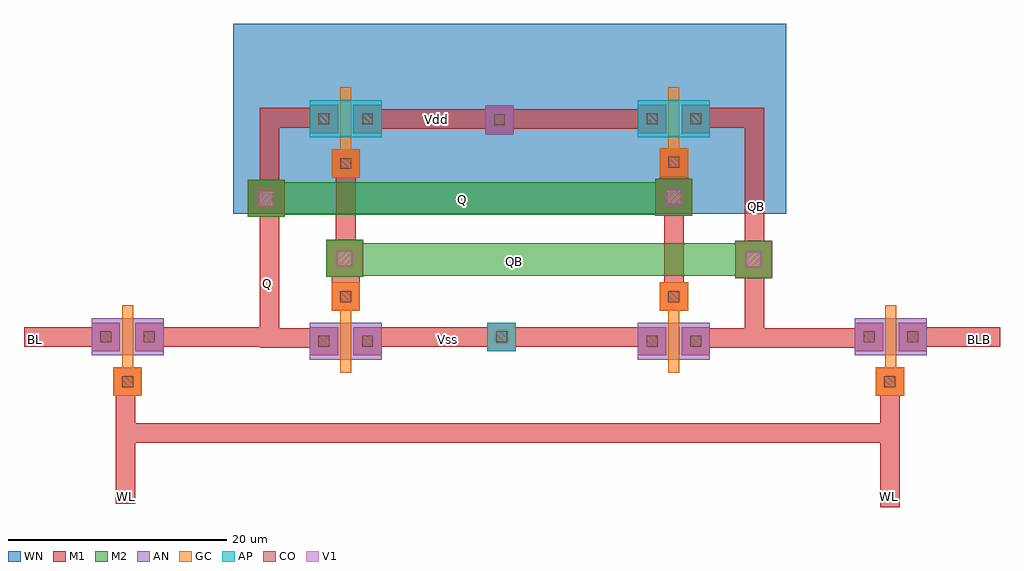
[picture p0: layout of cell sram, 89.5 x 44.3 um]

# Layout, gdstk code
import gdstk
lib = gdstk.Library(unit=1e-6, precision=1e-07)
def R(c, l, rs):  # rectangles x0, y0, x1, y1
    for r in rs: c.add(gdstk.rectangle(r[:2], r[2:], *l))
AP = (3, 1)
AN = (3, 2)
GC = (8, 1)
CO = (11, 0)
M1 = (13, 0)
V1 = (19, 0)
M2 = (20, 0)
WN = (140, 0)

fet_n = lib.new_cell('fet_n')
R(fet_n, AN, [(-3.3,-1.7,3.3,1.7)])
R(fet_n, CO, [(-2.5,-0.5,-1.5,0.5), (1.5,-0.5,2.5,0.5)])
R(fet_n, M1, [(-3.3,-1.3,-0.7,1.3), (0.7,-1.3,3.3,1.3)])
fet_n.add(gdstk.FlexPath([(0,-2.9),(0,2.9)], 1, ends="flush", simple_path=True, layer=8, datatype=1))  # GC

fet_p = lib.new_cell('fet_p')
R(fet_p, AP, [(-3.3,-1.7,3.3,1.7)])
R(fet_p, CO, [(-2.5,-0.5,-1.5,0.5), (1.5,-0.5,2.5,0.5)])
R(fet_p, M1, [(-3.3,-1.3,-0.7,1.3), (0.7,-1.3,3.3,1.3)])
fet_p.add(gdstk.FlexPath([(0,-2.9),(0,2.9)], 1, ends="flush", simple_path=True, layer=8, datatype=1))  # GC

cont_g = lib.new_cell('cont_g')
R(cont_g, GC, [(-1.3,-1.3,1.3,1.3)])
R(cont_g, CO, [(-0.5,-0.5,0.5,0.5)])
R(cont_g, M1, [(-1.3,-1.3,1.3,1.3)])

cont_n = lib.new_cell('cont_n')
R(cont_n, AN, [(-1.3,-1.3,1.3,1.3)])
R(cont_n, CO, [(-0.5,-0.5,0.5,0.5)])
R(cont_n, M1, [(-1.3,-1.3,1.3,1.3)])

cont_p = lib.new_cell('cont_p')
R(cont_p, AP, [(-1.3,-1.3,1.3,1.3)])
R(cont_p, CO, [(-0.5,-0.5,0.5,0.5)])
R(cont_p, M1, [(-1.3,-1.3,1.3,1.3)])

via_1 = lib.new_cell('via_1')
R(via_1, M1, [(-1.7,-1.7,1.7,1.7)])
R(via_1, V1, [(-0.7,-0.7,0.7,0.7)])
R(via_1, M2, [(-1.7,-1.7,1.7,1.7)])

sram = lib.new_cell('sram')
R(sram, M1, [(-1.3,-5,1.3,-4.5), (28.8,4.4,31.4,4.7)])
R(sram, WN, [(-10.3,1.3,40.4,18.7)])
sram.add(gdstk.FlexPath([(0,5.8),(0,-5.2)], 1.8, ends="flush", simple_path=True, layer=13, datatype=0))  # M1
sram.add(gdstk.FlexPath([(30.1,5.7),(30.1,-5.2)], 1.8, ends="flush", simple_path=True, layer=13, datatype=0))  # M1
sram.add(gdstk.FlexPath([(2.8,-10),(27.5,-10)], 1.8, ends="flush", simple_path=True, layer=13, datatype=0))  # M1
sram.add(gdstk.FlexPath([(3,10),(27.3,10)], 1.8, ends="flush", simple_path=True, layer=13, datatype=0))  # M1
sram.add(gdstk.FlexPath([(33.3,10.1),(37.5,10.1),(37.5,-10.1),(32.9,-10.1)], 1.8, ends="flush", simple_path=True, layer=13, datatype=0))  # M1
sram.add(gdstk.FlexPath([(-3.1,10.1),(-7,10.1),(-7,-10.1),(-2.8,-10.1)], 1.8, ends="flush", simple_path=True, layer=13, datatype=0))  # M1
sram.add(gdstk.FlexPath([(-16.9,-10),(-7.6,-10),(-7.6,-10)], 1.8, ends="flush", simple_path=True, layer=13, datatype=0))  # M1
sram.add(gdstk.FlexPath([(46.8,-10.1),(37.8,-10.1)], 1.8, ends="flush", simple_path=True, layer=13, datatype=0))  # M1
sram.add(gdstk.FlexPath([(-22.9,-10),(-29.5,-10)], 1.8, ends="flush", simple_path=True, layer=13, datatype=0))  # M1
sram.add(gdstk.FlexPath([(53.2,-10),(60,-10)], 1.8, ends="flush", simple_path=True, layer=13, datatype=0))  # M1
sram.add(gdstk.FlexPath([(-20.2,-15.3),(-20.2,-25.3)], 1.8, ends="flush", simple_path=True, layer=13, datatype=0))  # M1
sram.add(gdstk.FlexPath([(49.9,-15),(49.9,-25.6)], 1.8, ends="flush", simple_path=True, layer=13, datatype=0))  # M1
sram.add(gdstk.FlexPath([(50,-18.8),(-20.4,-18.8)], 1.8, ends="flush", simple_path=True, layer=13, datatype=0))  # M1
sram.add(gdstk.FlexPath([(35.9,-2.9),(1.1,-2.9)], 3, ends="flush", simple_path=True, layer=20, datatype=0))  # M2
sram.add(gdstk.FlexPath([(-6.1,2.7),(29.1,2.7)], 3, ends="flush", simple_path=True, layer=20, datatype=0))  # M2
sram.add(gdstk.Reference(fet_n, (-20,-10)))
sram.add(gdstk.Reference(fet_n, (0,-10.4)))
sram.add(gdstk.Reference(fet_n, (30.1,-10.4)))
sram.add(gdstk.Reference(fet_p, (30.1,10)))
sram.add(gdstk.Reference(fet_p, (0,10)))
sram.add(gdstk.Reference(cont_g, (0,5.9)))
sram.add(gdstk.Reference(cont_g, (30.1,6)))
sram.add(gdstk.Reference(cont_g, (0,-6.3)))
sram.add(gdstk.Reference(cont_g, (30.1,-6.3)))
sram.add(gdstk.Reference(fet_n, (50,-10)))
sram.add(gdstk.Reference(cont_n, (14.1,9.9)))
sram.add(gdstk.Reference(cont_p, (14.3,-10)))
sram.add(gdstk.Reference(via_1, (-0.1,-2.8)))
sram.add(gdstk.Reference(via_1, (37.4,-2.9)))
sram.add(gdstk.Reference(via_1, (30.1,2.8)))
sram.add(gdstk.Reference(via_1, (-7.3,2.7)))
sram.add(gdstk.Reference(cont_g, (-20,-14.1)))
sram.add(gdstk.Reference(cont_g, (49.9,-14.1)))
sram.add(gdstk.Label('WL', (-20.1,-24.6), layer=48, texttype=0))
sram.add(gdstk.Label('WL', (49.9,-24.6), layer=48, texttype=0))
sram.add(gdstk.Label('BL', (-28.4,-10.2), layer=48, texttype=0))
sram.add(gdstk.Label('BLB', (58.1,-10.2), layer=48, texttype=0))
sram.add(gdstk.Label('Q', (-7.2,-5.1), layer=48, texttype=0))
sram.add(gdstk.Label('QB', (37.7,2), layer=48, texttype=0))
sram.add(gdstk.Label('Vss', (9.3,-10.2), layer=48, texttype=0))
sram.add(gdstk.Label('Vdd', (8.3,9.9), layer=48, texttype=0))
sram.add(gdstk.Label('QB', (15.5,-3.1), layer=49, texttype=0))
sram.add(gdstk.Label('Q', (10.7,2.6), layer=49, texttype=0))

lib.write_gds('sram.gds')
